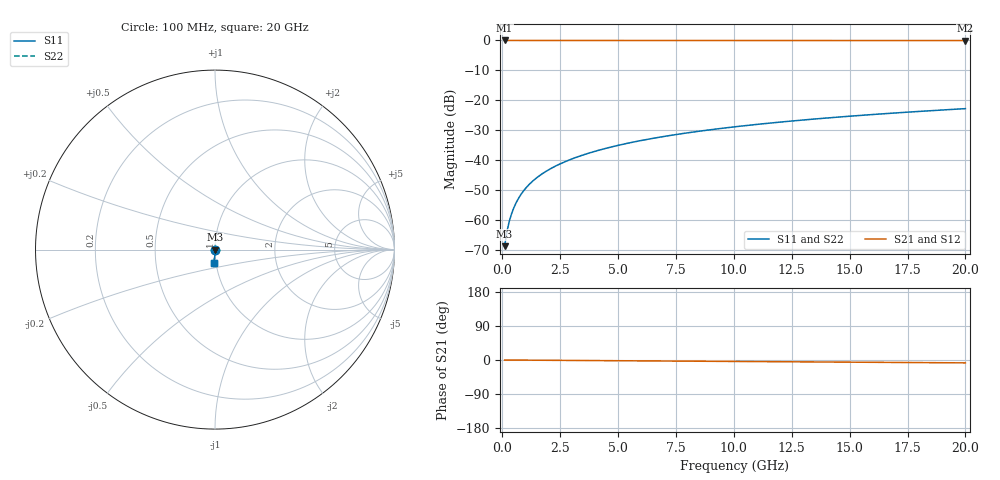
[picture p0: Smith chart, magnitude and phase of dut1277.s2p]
! Touchstone file exported from HFSS 2026.1.0
!  File:  C:/ffzhzh/LocalFiles/Ansys_Project_Files/temp_train_TSV_1277_1783194223_55132.aedt
!  Generated:  03:45:15 AM Jul  5, 2026
!  Design:  TSV
!  Project:  temp_train_TSV_1277_1783194223_55132
! Variables:
!  h_bsmrdl = 2um
!  h_ox = 20um
!  h_rdl = 5um
!  h_sub = 68.24um
!  h_tmrdl = 5um
!  h_tsv = 68.24um
!  h_via = 3um
!  l_bsmrdl = 300um
!  l_sub = 413.42um
!  l_tmrdl = 200um
!  m_sub = 200um
!  pitch = 16.96um
!  r_tsv = 6.71um
!  s_tmrdl = 10um
!  w_bsmrdl = 18um
!  w_sub = 500um
!  w_tmrdl = 12um
!  x_tsv_center1 = 206um
!  x_tsv_center2 = 524um
!  x_tsv_center3 = 736um
!  x_tsv_center4 = 1054um
!  x_tsv_center5 = 1266um
!  x_tsv_center6 = 1584um
# GHz S MA R 50.000000
! Terminal data exported
! Port[1] = TSV1_1_T1
! Port[2] = TSV1_1_T2
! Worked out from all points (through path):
!   200 points, 100 MHz to 20 GHz, reference 50 ohm
!   highest |S21| = 0.00 dB at 100 MHz (marker M1); lowest = 0.0 dB at 20 GHz (marker M2)
!   group delay of S21, straight-line fit = 1.05 ps
!   lowest |S11| = -68.6 dB at 100 MHz (marker M3), VSWR 1.00, Z = 50 - j0.0294 ohm
!   |S11| at or under -10 dB: start of sweep to end of sweep
!   |S22| runs from -68.6 to -22.7 dB; largest |S21 - S12| = 5.4e-15
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0.1  0.0003717 -52.2  0.9998 -0.0  0.9998 -0.0  0.0003717 -52.2
! Gamma 0 0 0 0
! Port Impedance 50 0 50 0
0.2  0.0006491 -66.9  0.9997 -0.1  0.9997 -0.1  0.0006491 -66.9
0.3  0.00096 -72.3  0.9997 -0.1  0.9997 -0.1  0.00096 -72.3
0.4  0.001289 -75.2  0.9997 -0.2  0.9997 -0.2  0.001289 -75.2
0.5  0.001631 -77.1  0.9996 -0.2  0.9996 -0.2  0.001631 -77.1
0.7  0.002332 -79.6  0.9996 -0.3  0.9996 -0.3  0.002332 -79.6
0.8  0.002687 -80.6  0.9995 -0.3  0.9995 -0.3  0.002687 -80.6
1  0.0034 -82.0  0.9995 -0.4  0.9995 -0.4  0.0034 -82.0
1.2  0.004114 -83.1  0.9995 -0.5  0.9995 -0.5  0.004114 -83.1
1.4  0.004829 -84.0  0.9994 -0.5  0.9994 -0.5  0.004829 -84.0
1.7  0.0059 -84.9  0.9994 -0.7  0.9994 -0.7  0.0059 -84.9
2  0.006972 -85.6  0.9993 -0.8  0.9993 -0.8  0.006972 -85.6
2.7  0.009481 -86.7  0.9992 -1.0  0.9992 -1.0  0.009481 -86.7
3.5  0.01237 -87.6  0.9991 -1.4  0.9991 -1.4  0.01237 -87.6
4.2  0.0149 -88.2  0.999 -1.6  0.999 -1.6  0.0149 -88.2
5  0.01782 -88.7  0.9989 -1.9  0.9989 -1.9  0.01782 -88.7
6.8  0.02442 -89.8  0.9985 -2.6  0.9985 -2.6  0.02442 -89.8
8.3  0.02993 -90.7  0.9982 -3.2  0.9982 -3.2  0.02993 -90.7
10.1  0.03656 -91.6  0.9979 -3.8  0.9979 -3.8  0.03656 -91.6
13.4  0.0487 -93.1  0.9972 -5.1  0.9972 -5.1  0.0487 -93.1
16.7  0.06083 -94.6  0.9963 -6.3  0.9963 -6.3  0.06083 -94.6
20  0.07295 -95.9  0.9953 -7.6  0.9953 -7.6  0.07295 -95.9
